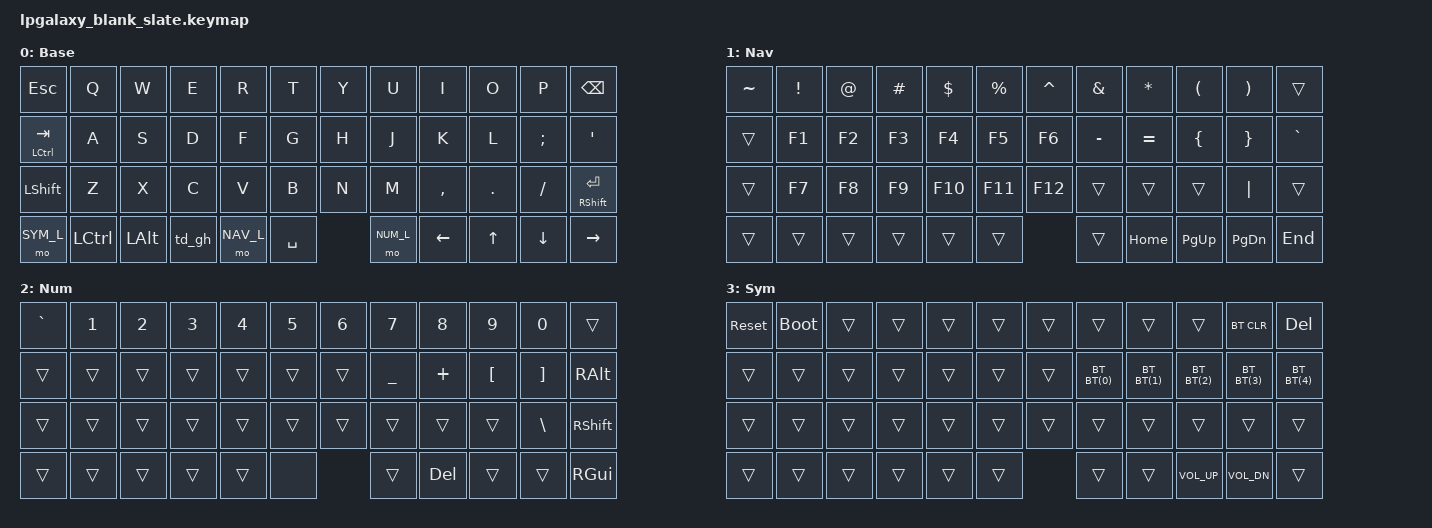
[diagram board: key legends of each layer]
/*
 * Copyright (c) 2022 Pete Johanson
 *
 * SPDX-License-Identifier: MIT
 */

#include <behaviors.dtsi>
#include <dt-bindings/zmk/keys.h>
#include <dt-bindings/zmk/bt.h>
#include <dt-bindings/zmk/outputs.h>

#define TBLE_MIT 1

#define NAV_L 1
#define NUM_L 2
#define SYM_L 3

// Using layer taps on thumbs, having quick tap as well helps w/ repeating space/backspace
&lt { quick_tap_ms = <200>; };

#define BT(n) BT_SEL n

/ {
    chosen {
       zmk,matrix_transform = &mit_transform;
    };

    macros {
      ZMK_MACRO(thumbs_up,
		    wait-ms = <1>;
		    tap-ms = <5>;
        bindings = <&kp PLUS &kp COLON &kp PLUS &kp N1 &kp COLON &kp RET>;
		  )
    };
    
    tap_dances {
    	shifty: shift_caps_word {
		    compatible = "zmk,behavior-tap-dance";
		    label = "TD_SHIFTY";
		    #binding-cells = <0>;
		    tapping-term-ms = <150>;
		    bindings = <&kp LSHFT>, <&caps_word>;
	    };
        td_gh: tap_dance_hyperkey {
            compatible = "zmk,behavior-tap-dance";
            #binding-cells = <0>;
            tapping-term-ms = <200>;
            bindings = <&kp LGUI>, <&kp LG(LC(LALT))>;
        };
    };


    keymap {
        compatible = "zmk,keymap";

        base_layer {
            label = "Base";
            bindings = <
&kp ESC        &kp Q      &kp W     &kp E     &kp R      &kp T          &kp Y  &kp U      &kp I       &kp O    &kp P     &kp BKSP
&mt LCTRL TAB  &kp A      &kp S     &kp D     &kp F      &kp G          &kp H  &kp J      &kp K       &kp L    &kp SEMI  &kp QUOT
&kp LSHFT      &kp Z      &kp X     &kp C     &kp V      &kp B          &kp N  &kp M      &kp COMMA   &kp DOT  &kp FSLH  &mt RSHFT RET
&mo SYM_L      &kp LCTRL  &kp LALT  &td_gh    &mo NAV_L       &kp SPACE        &mo NUM_L  &kp LEFT    &kp UP   &kp DOWN  &kp RIGHT
            >;
        };

        nav_layer {
            label = "Nav";
            bindings = <
&kp TILDE  &kp EXCL  &kp AT  &kp HASH  &kp DLLR  &kp PRCNT  &kp CARET  &kp AMPS   &kp STAR   &kp LPAR   &kp RPAR   &trans
&trans     &kp F1    &kp F2  &kp F3    &kp F4    &kp F5     &kp F6     &kp MINUS  &kp EQUAL  &kp LBRC   &kp RBRC   &kp GRAVE
&trans     &kp F7    &kp F8  &kp F9    &kp F10   &kp F11    &kp F12    &trans     &trans     &trans     &kp PIPE   &trans
&trans     &trans    &trans  &trans    &trans          &trans          &trans     &kp HOME   &kp PG_UP  &kp PG_DN  &kp END
            >;
        };

        num_layer {
            label = "Num";
            bindings = <
&kp GRAVE  &kp N1  &kp N2  &kp N3  &kp N4   &kp N5  &kp N6   &kp N7     &kp N8    &kp N9    &kp N0    &trans
&trans     &trans  &trans  &trans  &trans   &trans  &trans   &kp UNDER  &kp PLUS  &kp LBKT  &kp RBKT  &kp RALT
&trans     &trans  &trans  &trans  &trans   &trans  &trans   &trans     &trans    &trans    &kp BSLH  &kp RSHFT
&trans     &trans  &trans  &trans  &trans   &none         &trans        &kp DEL   &trans    &trans    &kp RGUI
            >;
        };

        sym_layer {
            label = "Sym";
            bindings = <
&sys_reset  &bootloader &trans  &trans  &trans  &trans  &trans  &trans     &trans     &trans        &bt BT_CLR    &kp DEL
&trans      &trans      &trans  &trans  &trans  &trans  &trans  &bt BT(0)  &bt BT(1)  &bt BT(2)     &bt BT(3)     &bt BT(4)
&trans      &trans      &trans  &trans  &trans  &trans  &trans  &trans     &trans     &trans        &trans        &trans
&trans      &trans      &trans  &trans  &trans  &trans       &trans        &trans     &kp K_VOL_UP  &kp K_VOL_DN  &trans
            >;
        };


    };
};

